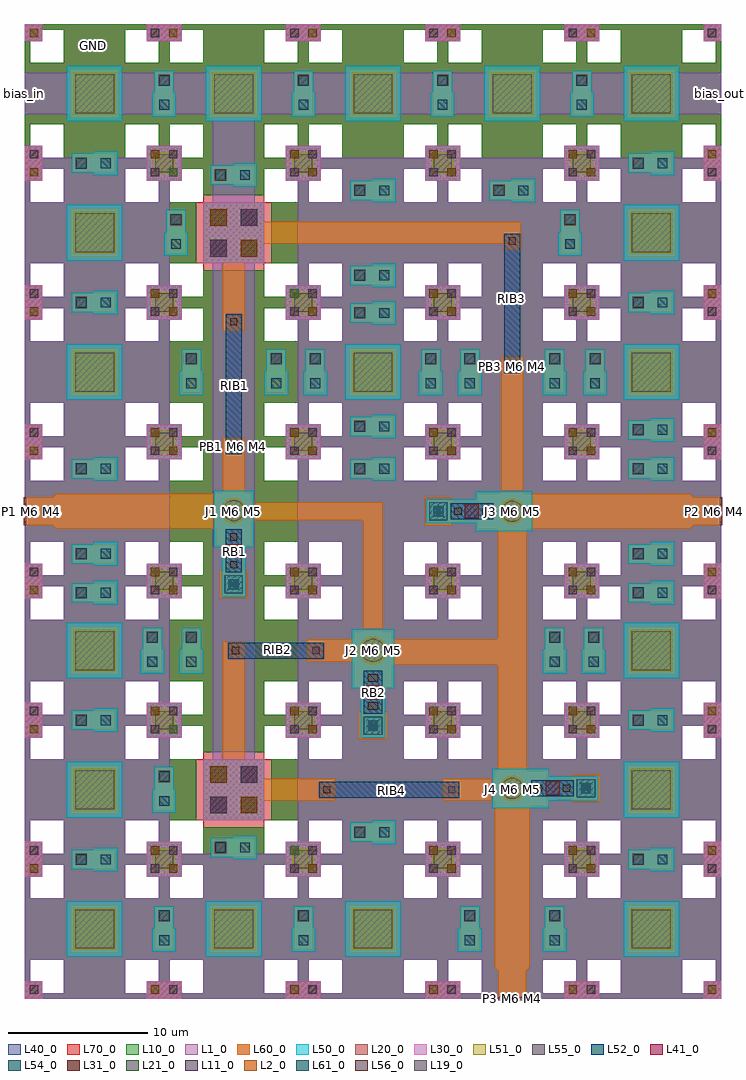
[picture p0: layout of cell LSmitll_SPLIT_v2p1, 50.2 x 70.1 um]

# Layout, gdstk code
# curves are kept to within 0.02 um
from math import pi, radians
import gdstk
lib = gdstk.Library(unit=1e-6, precision=1e-09)
def R(c, l, rs):  # rectangles x0, y0, x1, y1
    for r in rs: c.add(gdstk.rectangle(r[:2], r[2:], *l))
def P(c, l, *ps):  # polygons
    for p in ps: c.add(gdstk.Polygon(p, *l))
L1_0 = (1, 0)
L2_0 = (2, 0)
L10_0 = (10, 0)
L11_0 = (11, 0)
L19_0 = (19, 0)
L20_0 = (20, 0)
L21_0 = (21, 0)
L30_0 = (30, 0)
L31_0 = (31, 0)
L40_0 = (40, 0)
L41_0 = (41, 0)
L50_0 = (50, 0)
L51_0 = (51, 0)
L52_0 = (52, 0)
L54_0 = (54, 0)
L55_0 = (55, 0)
L56_0 = (56, 0)
L60_0 = (60, 0)
L61_0 = (61, 0)
L70_0 = (70, 0)

ls_tr_m0 = lib.new_cell('ls_tr_M0')
P(ls_tr_m0, L1_0, [(0,0),(0,10),(1.25,10),(1.25,8.75),(0.4,8.75),(0.4,1.25),(1.25,1.25),(1.25,0.4),(2.8,0.4),(2.8,2.8),(0.4,2.8),(0.4,7.2),(2.8,7.2),(2.8,9.6),(1.25,9.6),(1.25,10),(7.2,10),(7.2,0.4),(8.75,0.4),(8.75,1.25),(9.6,1.25),(9.6,2.8),(7.2,2.8),(7.2,7.2),(9.6,7.2),(9.6,8.75),(8.75,8.75),(8.75,9.6),(7.2,9.6),(7.2,10),(10,10),(10,0)])

ls_conn_m4m5m6m7 = lib.new_cell('ls_conn_M4M5M6M7')
R(ls_conn_m4m5m6m7, L40_0, [(0,0,1.4,1.4)])
R(ls_conn_m4m5m6m7, L41_0, [(0.3,0.3,1.1,1.1)])
P(ls_conn_m4m5m6m7, L50_0, [(1.6,-0.15),(1.6,0),(0,0),(0,1.4),(1.6,1.4),(1.6,1.55),(3.3,1.55),(3.3,-0.15)])
R(ls_conn_m4m5m6m7, L54_0, [(2.1,0.35,2.8,1.05)])
R(ls_conn_m4m5m6m7, L60_0, [(0,0,3.15,1.4)])
R(ls_conn_m4m5m6m7, L61_0, [(0.35,0.35,1.05,1.05)])
R(ls_conn_m4m5m6m7, L70_0, [(0,0,1.4,1.4)])

ls_fakejj_3umx3um = lib.new_cell('ls_FakeJJ_3umx3um')
R(ls_fakejj_3umx3um, L40_0, [(-2,-2,2,2)])
R(ls_fakejj_3umx3um, L50_0, [(-2,-2,2,2)])
R(ls_fakejj_3umx3um, L51_0, [(-1.5,-1.5,1.5,1.5)])
R(ls_fakejj_3umx3um, L55_0, [(-1.4,-1.4,1.4,1.4)])
R(ls_fakejj_3umx3um, L60_0, [(-1.75,-1.75,1.75,1.75)])

ls_tr_m7 = lib.new_cell('ls_tr_M7')
P(ls_tr_m7, L70_0, [(0,0),(0,10),(1.25,10),(1.25,8.75),(0.4,8.75),(0.4,1.25),(1.25,1.25),(1.25,0.4),(2.8,0.4),(2.8,2.8),(0.4,2.8),(0.4,7.2),(2.8,7.2),(2.8,9.6),(1.25,9.6),(1.25,10),(7.2,10),(7.2,0.4),(8.75,0.4),(8.75,1.25),(9.6,1.25),(9.6,2.8),(7.2,2.8),(7.2,7.2),(9.6,7.2),(9.6,8.75),(8.75,8.75),(8.75,9.6),(7.2,9.6),(7.2,10),(10,10),(10,0)])

ls_tr_u_m4_alt = lib.new_cell('ls_tr_u_M4_alt')
R(ls_tr_u_m4_alt, L1_0, [(0,0,1.25,1.25), (8.75,0,10,1.25), (0,8.75,1.25,10), (8.75,8.75,10,10)])
R(ls_tr_u_m4_alt, L2_0, [(9.05,0.35,9.65,0.95), (0.35,9.05,0.95,9.65)])
R(ls_tr_u_m4_alt, L10_0, [(0,0,1.25,1.25), (1.25,0,8.75,0.4), (8.75,0,10,1.25), (2.8,0.4,7.2,9.6), (0,1.25,0.4,8.75), (9.6,1.25,10,8.75), (0.4,2.8,2.8,7.2), (7.2,2.8,9.6,7.2), (0,8.75,1.25,10), (8.75,8.75,10,10), (1.25,9.6,8.75,10)])
R(ls_tr_u_m4_alt, L11_0, [(0.35,0.35,0.95,0.95), (9.05,9.05,9.65,9.65)])
R(ls_tr_u_m4_alt, L20_0, [(0,0,1.25,1.25), (8.75,0,10,1.25), (0,8.75,1.25,10), (8.75,8.75,10,10)])
R(ls_tr_u_m4_alt, L21_0, [(9.05,0.35,9.65,0.95), (0.35,9.05,0.95,9.65)])
R(ls_tr_u_m4_alt, L30_0, [(0,0,1.25,1.25), (8.75,0,10,1.25), (0,8.75,1.25,10), (8.75,8.75,10,10)])
R(ls_tr_u_m4_alt, L31_0, [(0.35,0.35,0.95,0.95), (9.05,9.05,9.65,9.65)])
P(ls_tr_u_m4_alt, L40_0, [(0,0),(0,10),(1.25,10),(1.25,8.75),(0.4,8.75),(0.4,1.25),(1.25,1.25),(1.25,0.4),(2.8,0.4),(2.8,2.8),(0.4,2.8),(0.4,7.2),(2.8,7.2),(2.8,9.6),(1.25,9.6),(1.25,10),(7.2,10),(7.2,0.4),(8.75,0.4),(8.75,1.25),(9.6,1.25),(9.6,2.8),(7.2,2.8),(7.2,7.2),(9.6,7.2),(9.6,8.75),(8.75,8.75),(8.75,9.6),(7.2,9.6),(7.2,10),(10,10),(10,0)])

ls_ib_175 = lib.new_cell('ls_ib_175')
R(ls_ib_175, L52_0, [(-0.575,0,0.575,10.05)])
R(ls_ib_175, L56_0, [(-0.26,0.29,0.26,0.81), (-0.26,9.26,0.26,9.78)])
R(ls_ib_175, L60_0, [(-0.625,-0.1,0.625,1.175), (-0.625,8.875,0.625,10.15)])

ls_conn_m5m6m7 = lib.new_cell('ls_conn_M5M6M7')
R(ls_conn_m5m6m7, L50_0, [(-0.5,-0.5,1.2,1.2)])
R(ls_conn_m5m6m7, L54_0, [(0,0,0.7,0.7)])
R(ls_conn_m5m6m7, L60_0, [(-0.65,-0.65,1.35,1.35)])
R(ls_conn_m5m6m7, L61_0, [(-0.3,-0.3,1,1)])
R(ls_conn_m5m6m7, L70_0, [(-0.65,-0.65,1.35,1.35)])

ls_jj250sg = lib.new_cell('ls_jj250sg')
R(ls_jj250sg, L41_0, [(-0.5,2.4,0.5,3.4)])
R(ls_jj250sg, L50_0, [(-1.425,-1.425,1.425,2.625), (-0.875,2.625,0.875,6.175)])
P(ls_jj250sg, L51_0, [(0,-0.91),(-0.18,-0.895),(-0.35,-0.84),(-0.645,-0.645),(-0.84,-0.35),(-0.91,0),(-0.895,0.18),(-0.84,0.35),(-0.645,0.645),(-0.35,0.84),(-0.18,0.895),(0,0.91),(0.18,0.895),(0.35,0.84),(0.645,0.645),(0.84,0.35),(0.895,0.18),(0.91,0),(0.84,-0.35),(0.645,-0.645),(0.35,-0.84),(0.18,-0.895)])
R(ls_jj250sg, L52_0, [(-0.575,1.35,0.575,4.425)])
R(ls_jj250sg, L54_0, [(-0.35,4.95,0.35,5.65)])
P(ls_jj250sg, L55_0, [(0,-0.76),(-0.15,-0.75),(-0.29,-0.7),(-0.54,-0.54),(-0.7,-0.29),(-0.75,-0.15),(-0.76,0),(-0.75,0.15),(-0.7,0.29),(-0.54,0.54),(-0.29,0.7),(-0.15,0.75),(0,0.76),(0.15,0.75),(0.29,0.7),(0.54,0.54),(0.7,0.29),(0.75,0.15),(0.76,0),(0.75,-0.15),(0.7,-0.29),(0.54,-0.54),(0.29,-0.7),(0.15,-0.75)])
R(ls_jj250sg, L56_0, [(-0.26,1.64,0.26,2.16), (-0.26,3.63,0.26,4.15)])
R(ls_jj250sg, L60_0, [(-1.275,-1.275,1.275,2.525), (-0.725,3.25,0.725,6.025)])
ls_jj250sg.add(gdstk.Reference(ls_conn_m5m6m7, (-0.35,4.95)))

ls_jj_300_sg = lib.new_cell('ls_jj_300_sg')
R(ls_jj_300_sg, L41_0, [(-0.5,2.5,0.5,3.5)])
R(ls_jj_300_sg, L50_0, [(-1.525,-1.525,1.525,2.725), (-0.875,2.725,0.875,6.275)])
P(ls_jj_300_sg, L51_0, [(0,-0.995),(-0.38,-0.92),(-0.705,-0.705),(-0.92,-0.38),(-0.995,0),(-0.92,0.38),(-0.705,0.705),(-0.38,0.92),(0,0.995),(0.38,0.92),(0.705,0.705),(0.92,0.38),(0.995,0),(0.92,-0.38),(0.705,-0.705),(0.38,-0.92)])
R(ls_jj_300_sg, L52_0, [(-0.65,1.45,0.65,4.525)])
R(ls_jj_300_sg, L54_0, [(-0.35,5.05,0.35,5.75)])
P(ls_jj_300_sg, L55_0, [(0,-0.85),(-0.32,-0.79),(-0.6,-0.6),(-0.78,-0.33),(-0.85,-0.01),(-0.78,0.32),(-0.6,0.59),(-0.32,0.78),(0,0.84),(0.32,0.78),(0.6,0.59),(0.78,0.32),(0.85,-0.01),(0.78,-0.33),(0.6,-0.6),(0.32,-0.79)])
R(ls_jj_300_sg, L56_0, [(-0.39,1.72,0.39,2.24), (-0.39,3.73,0.39,4.25)])
R(ls_jj_300_sg, L60_0, [(-1.375,-1.375,1.375,2.625), (-0.75,3.35,0.75,6.125)])
ls_jj_300_sg.add(gdstk.Reference(ls_conn_m5m6m7, (-0.35,5.05)))

ls_fakejj_1p5x1p5um = lib.new_cell('ls_FakeJJ_1p5x1p5um')
R(ls_fakejj_1p5x1p5um, L40_0, [(-1.25,-1.25,1.25,1.25)])
R(ls_fakejj_1p5x1p5um, L50_0, [(-1.25,-1.25,1.25,1.25)])
R(ls_fakejj_1p5x1p5um, L51_0, [(-0.75,-0.75,0.75,0.75)])
R(ls_fakejj_1p5x1p5um, L55_0, [(-0.65,-0.65,0.65,0.65)])
R(ls_fakejj_1p5x1p5um, L60_0, [(-1,-1,1,1)])

ls_tr_bias_pillar_m0m6 = lib.new_cell('ls_tr_bias_pillar_M0M6')
R(ls_tr_bias_pillar_m0m6, L1_0, [(0,0,1.25,1.25), (8.75,0,10,1.25), (2.8,2.8,7.2,7.2), (0,8.75,1.25,10), (8.75,8.75,10,10)])
R(ls_tr_bias_pillar_m0m6, L2_0, [(5.5,3.3,6.7,4.5), (3.3,5.5,4.5,6.7)])
R(ls_tr_bias_pillar_m0m6, L10_0, [(0,0,1.25,1.25), (8.75,0,10,1.25), (2.8,2.8,7.2,7.2), (0,8.75,1.25,10), (8.75,8.75,10,10)])
P(ls_tr_bias_pillar_m0m6, L10_0, [(0,0),(0,10),(7.2,10),(7.2,7.7),(2.8,7.7),(2.8,9.6),(1.25,9.6),(1.25,8.75),(0.4,8.75),(0.4,7.2),(2.3,7.2),(2.3,2.8),(0.4,2.8),(0.4,1.25),(1.25,1.25),(1.25,0.4),(2.8,0.4),(2.8,2.3),(7.2,2.3),(7.2,0.4),(8.75,0.4),(8.75,1.25),(9.6,1.25),(9.6,2.8),(7.7,2.8),(7.7,7.2),(9.6,7.2),(9.6,8.75),(8.75,8.75),(8.75,9.6),(7.2,9.6),(7.2,10),(10,10),(10,0)])
R(ls_tr_bias_pillar_m0m6, L11_0, [(0.35,0.35,0.95,0.95), (3.3,3.3,4.5,4.5), (5.5,5.5,6.7,6.7), (9.05,9.05,9.65,9.65)])
R(ls_tr_bias_pillar_m0m6, L20_0, [(0,0,1.25,1.25), (8.75,0,10,1.25), (2.8,2.8,7.2,7.2), (0,8.75,1.25,10), (8.75,8.75,10,10)])
R(ls_tr_bias_pillar_m0m6, L21_0, [(9.05,0.35,9.65,0.95), (5.5,3.3,6.7,4.5), (3.3,5.5,4.5,6.7), (0.35,9.05,0.95,9.65)])
R(ls_tr_bias_pillar_m0m6, L30_0, [(0,0,1.25,1.25), (8.75,0,10,1.25), (2.8,2.8,7.2,7.2), (0,8.75,1.25,10), (8.75,8.75,10,10)])
R(ls_tr_bias_pillar_m0m6, L31_0, [(0.35,0.35,0.95,0.95), (3.3,3.3,4.5,4.5), (5.5,5.5,6.7,6.7), (9.05,9.05,9.65,9.65)])
R(ls_tr_bias_pillar_m0m6, L40_0, [(2.8,2.8,7.2,7.2)])
P(ls_tr_bias_pillar_m0m6, L40_0, [(0,0),(0,10),(7.2,10),(7.2,7.7),(2.8,7.7),(2.8,9.6),(1.25,9.6),(1.25,8.75),(0.4,8.75),(0.4,7.2),(2.3,7.2),(2.3,2.8),(0.4,2.8),(0.4,1.25),(1.25,1.25),(1.25,0.4),(2.8,0.4),(2.8,2.3),(7.2,2.3),(7.2,0.4),(8.75,0.4),(8.75,1.25),(9.6,1.25),(9.6,2.8),(7.7,2.8),(7.7,7.2),(9.6,7.2),(9.6,8.75),(8.75,8.75),(8.75,9.6),(7.2,9.6),(7.2,10),(10,10),(10,0)])
R(ls_tr_bias_pillar_m0m6, L41_0, [(5.5,3.3,6.7,4.5), (3.3,5.5,4.5,6.7)])
R(ls_tr_bias_pillar_m0m6, L50_0, [(2.8,2.8,7.2,7.2)])
R(ls_tr_bias_pillar_m0m6, L54_0, [(3.3,3.3,4.5,4.5), (5.5,5.5,6.7,6.7)])
R(ls_tr_bias_pillar_m0m6, L60_0, [(2.8,2.8,7.2,7.2)])
P(ls_tr_bias_pillar_m0m6, L70_0, [(0,0),(0,10),(1.25,10),(1.25,8.75),(0.4,8.75),(0.4,1.25),(1.25,1.25),(1.25,0.4),(2.8,0.4),(2.8,2.8),(0.4,2.8),(0.4,7.2),(2.8,7.2),(2.8,9.6),(1.25,9.6),(1.25,10),(7.2,10),(7.2,0.4),(8.75,0.4),(8.75,1.25),(9.6,1.25),(9.6,2.8),(7.2,2.8),(7.2,7.2),(9.6,7.2),(9.6,8.75),(8.75,8.75),(8.75,9.6),(7.2,9.6),(7.2,10),(10,10),(10,0)])

ls_ib_280 = lib.new_cell('ls_ib_280')
R(ls_ib_280, L52_0, [(-0.575,0,0.575,6.85)])
R(ls_ib_280, L56_0, [(-0.26,0.29,0.26,0.81), (-0.26,6.06,0.26,6.58)])
R(ls_ib_280, L60_0, [(-0.625,-0.1,0.625,1.175), (-0.625,5.675,0.625,6.95)])

lsmitll_split_v2p1 = lib.new_cell('LSmitll_SPLIT_v2p1')
R(lsmitll_split_v2p1, L1_0, [(11.25,10,18.75,10.4), (10,11.25,10.4,58.75), (19.6,11.25,20,58.75), (1.25,60,8.75,60.4), (21.25,60,48.75,60.4)])
R(lsmitll_split_v2p1, L19_0, [(30.4,14.75,30.9,15.25), (20.65,24.75,21.15,25.25), (14.75,39.4,15.25,39.9), (34.75,45.2,35.25,45.7)])
P(lsmitll_split_v2p1, L60_0, [(34,2),(33.75,2.25),(36.25,2.25),(36,2)],
  [(47.75,33.75),(47.75,36.25),(48,36),(48,34)],
  [(2.25,33.75),(2,34),(2,36),(2.25,36.25)])
lsmitll_split_v2p1.add(gdstk.FlexPath([(15,15),(15,25.625)], 1.6, ends="flush", simple_path=True, layer=60, datatype=0))  # L60_0
lsmitll_split_v2p1.add(gdstk.FlexPath([(24,25),(20.25,25)], 1.6, ends="flush", simple_path=True, layer=60, datatype=0))  # L60_0
lsmitll_split_v2p1.add(gdstk.FlexPath([(26.35,24.9),(35,24.9)], 1.85, ends="flush", simple_path=True, layer=60, datatype=0))  # L60_0
lsmitll_split_v2p1.add(gdstk.FlexPath([(15,15),(22.3,15)], 1.6, ends="flush", simple_path=True, layer=60, datatype=0))  # L60_0
lsmitll_split_v2p1.add(gdstk.FlexPath([(15,55),(35.625,55)], 1.6, ends="flush", simple_path=True, layer=60, datatype=0))  # L60_0
lsmitll_split_v2p1.add(gdstk.FlexPath([(15,47.975),(15,55)], 1.6, ends="flush", simple_path=True, layer=60, datatype=0))  # L60_0
lsmitll_split_v2p1.add(gdstk.FlexPath([(0,35),(2.25,35)], 2, ends="flush", simple_path=True, layer=60, datatype=0))  # L60_0
lsmitll_split_v2p1.add(gdstk.FlexPath([(15,36.25),(15,40.3)], 1.6, ends="flush", simple_path=True, layer=60, datatype=0))  # L60_0
lsmitll_split_v2p1.add(gdstk.FlexPath([(33.85,15),(30,15)], 1.6, ends="flush", simple_path=True, layer=60, datatype=0))  # L60_0
lsmitll_split_v2p1.add(gdstk.FlexPath([(35,2.25),(35,0)], 2, ends="flush", simple_path=True, layer=60, datatype=0))  # L60_0
lsmitll_split_v2p1.add(gdstk.FlexPath([(35,25.75),(35,16.05)], 2.1, ends="flush", simple_path=True, layer=60, datatype=0))  # L60_0
lsmitll_split_v2p1.add(gdstk.FlexPath([(47.75,35),(50,35)], 2, ends="flush", simple_path=True, layer=60, datatype=0))  # L60_0
lsmitll_split_v2p1.add(gdstk.FlexPath([(16.25,35),(25.6,35)], 1.3, ends="flush", simple_path=True, layer=60, datatype=0))  # L60_0
lsmitll_split_v2p1.add(gdstk.FlexPath([(25,26.35),(25,35.65)], 1.4, ends="flush", simple_path=True, layer=60, datatype=0))  # L60_0
lsmitll_split_v2p1.add(gdstk.FlexPath([(35,34.4),(35,24.25)], 2.1, ends="flush", simple_path=True, layer=60, datatype=0))  # L60_0
lsmitll_split_v2p1.add(gdstk.FlexPath([(35,36.25),(35,46.1)], 1.6, ends="flush", simple_path=True, layer=60, datatype=0))  # L60_0
lsmitll_split_v2p1.add(gdstk.FlexPath([(2.25,35),(13.75,35)], 2.5, ends="flush", simple_path=True, layer=60, datatype=0))  # L60_0
lsmitll_split_v2p1.add(gdstk.FlexPath([(36.2,35),(47.75,35)], 2.5, ends="flush", simple_path=True, layer=60, datatype=0))  # L60_0
lsmitll_split_v2p1.add(gdstk.FlexPath([(35,13.85),(35,2.25)], 2.5, ends="flush", simple_path=True, layer=60, datatype=0))  # L60_0
lsmitll_split_v2p1.add(gdstk.FlexPath([(0,65),(50,65)], 3, ends="flush", simple_path=True, layer=1, datatype=0))  # L1_0
lsmitll_split_v2p1.add(gdstk.FlexPath([(15,65),(15,15)], 3, ends="flush", simple_path=True, layer=1, datatype=0))  # L1_0
lsmitll_split_v2p1.add(gdstk.FlexPath([(0,34),(0,36)], 0.2, ends="flush", simple_path=True, layer=19, datatype=0))  # L19_0
lsmitll_split_v2p1.add(gdstk.FlexPath([(34,0),(36,0)], 0.2, ends="flush", simple_path=True, layer=19, datatype=0))  # L19_0
lsmitll_split_v2p1.add(gdstk.FlexPath([(50,36),(50,34)], 0.2, ends="flush", simple_path=True, layer=19, datatype=0))  # L19_0
lsmitll_split_v2p1.add(gdstk.Reference(ls_tr_m0, (40,30)))
lsmitll_split_v2p1.add(gdstk.Reference(ls_tr_m0, (30,30)))
lsmitll_split_v2p1.add(gdstk.Reference(ls_tr_m0, (20,10)))
lsmitll_split_v2p1.add(gdstk.Reference(ls_tr_m0, (20,20)))
lsmitll_split_v2p1.add(gdstk.Reference(ls_tr_m0, (20,30)))
lsmitll_split_v2p1.add(gdstk.Reference(ls_tr_m0, (20,40)))
lsmitll_split_v2p1.add(gdstk.Reference(ls_tr_m0, (20,50)))
lsmitll_split_v2p1.add(gdstk.Reference(ls_conn_m4m5m6m7, (23.35,40.4)))
lsmitll_split_v2p1.add(gdstk.Reference(ls_conn_m4m5m6m7, (23.35,48.55)))
lsmitll_split_v2p1.add(gdstk.Reference(ls_fakejj_3umx3um, (25,45)))
lsmitll_split_v2p1.add(gdstk.Reference(ls_fakejj_3umx3um, (25,5)))
r = gdstk.Reference(ls_tr_m7, (0,0)); r.repetition = gdstk.Repetition(5, 7, v1=(10,0), v2=(0,10)); lsmitll_split_v2p1.add(r)
lsmitll_split_v2p1.add(gdstk.Reference(ls_tr_u_m4_alt, (20,60)))
lsmitll_split_v2p1.add(gdstk.Reference(ls_tr_u_m4_alt, (20,50)))
lsmitll_split_v2p1.add(gdstk.Reference(ls_tr_u_m4_alt, (20,40)))
lsmitll_split_v2p1.add(gdstk.Reference(ls_tr_u_m4_alt, (30,30)))
lsmitll_split_v2p1.add(gdstk.Reference(ls_tr_u_m4_alt, (20,30)))
lsmitll_split_v2p1.add(gdstk.Reference(ls_tr_u_m4_alt, (10,30)))
lsmitll_split_v2p1.add(gdstk.Reference(ls_tr_u_m4_alt, (0,30)))
lsmitll_split_v2p1.add(gdstk.Reference(ls_tr_u_m4_alt, (20,20)))
lsmitll_split_v2p1.add(gdstk.Reference(ls_tr_u_m4_alt, (20,10)))
lsmitll_split_v2p1.add(gdstk.Reference(ls_fakejj_3umx3um, (25,65)))
lsmitll_split_v2p1.add(gdstk.Reference(ls_ib_175, (31.2,15), rotation=pi/2))
lsmitll_split_v2p1.add(gdstk.Reference(ls_jj250sg, (35,35), rotation=pi/2))
lsmitll_split_v2p1.add(gdstk.Reference(ls_jj_300_sg, (25,25), rotation=pi))
lsmitll_split_v2p1.add(gdstk.Reference(ls_jj250sg, (15,35.05), rotation=pi))
lsmitll_split_v2p1.add(gdstk.Reference(ls_conn_m4m5m6m7, (23.35,37.35)))
lsmitll_split_v2p1.add(gdstk.Reference(ls_conn_m4m5m6m7, (23.35,51.25)))
lsmitll_split_v2p1.add(gdstk.Reference(ls_conn_m4m5m6m7, (23.35,57.35)))
lsmitll_split_v2p1.add(gdstk.Reference(ls_tr_u_m4_alt, (20,0)))
lsmitll_split_v2p1.add(gdstk.Reference(ls_tr_u_m4_alt, (40,30)))
lsmitll_split_v2p1.add(gdstk.Reference(ls_conn_m4m5m6m7, (23.35,11.25)))
lsmitll_split_v2p1.add(gdstk.Reference(ls_tr_m0, (0,30)))
lsmitll_split_v2p1.add(gdstk.Reference(ls_tr_m0, (20,0)))
lsmitll_split_v2p1.add(gdstk.Reference(ls_conn_m4m5m6m7, (43.35,49.3)))
lsmitll_split_v2p1.add(gdstk.Reference(ls_fakejj_3umx3um, (45,55)))
lsmitll_split_v2p1.add(gdstk.Reference(ls_tr_m0, (40,50)))
lsmitll_split_v2p1.add(gdstk.Reference(ls_conn_m4m5m6m7, (39.3,66.65), rotation=3*pi/2))
lsmitll_split_v2p1.add(gdstk.Reference(ls_conn_m4m5m6m7, (29.3,66.65), rotation=3*pi/2))
lsmitll_split_v2p1.add(gdstk.Reference(ls_fakejj_3umx3um, (45,65)))
lsmitll_split_v2p1.add(gdstk.Reference(ls_fakejj_3umx3um, (35,65)))
lsmitll_split_v2p1.add(gdstk.Reference(ls_tr_m0, (30,50)))
lsmitll_split_v2p1.add(gdstk.Reference(ls_fakejj_1p5x1p5um, (40,40)))
lsmitll_split_v2p1.add(gdstk.Reference(ls_fakejj_1p5x1p5um, (30,40)))
lsmitll_split_v2p1.add(gdstk.Reference(ls_fakejj_1p5x1p5um, (30,50)))
lsmitll_split_v2p1.add(gdstk.Reference(ls_fakejj_1p5x1p5um, (40,50)))
lsmitll_split_v2p1.add(gdstk.Reference(ls_fakejj_1p5x1p5um, (40,60)))
lsmitll_split_v2p1.add(gdstk.Reference(ls_fakejj_1p5x1p5um, (30,60)))
lsmitll_split_v2p1.add(gdstk.Reference(ls_ib_175, (35,44.9)))
lsmitll_split_v2p1.add(gdstk.Reference(ls_tr_m0, (30,40)))
lsmitll_split_v2p1.add(gdstk.Reference(ls_tr_u_m4_alt, (30,60)))
lsmitll_split_v2p1.add(gdstk.Reference(ls_tr_u_m4_alt, (40,60)))
lsmitll_split_v2p1.add(gdstk.Reference(ls_tr_u_m4_alt, (40,50)))
lsmitll_split_v2p1.add(gdstk.Reference(ls_tr_u_m4_alt, (30,50)))
lsmitll_split_v2p1.add(gdstk.Reference(ls_conn_m4m5m6m7, (43.35,37.35)))
lsmitll_split_v2p1.add(gdstk.Reference(ls_conn_m4m5m6m7, (31.25,46.65), rotation=3*pi/2))
lsmitll_split_v2p1.add(gdstk.Reference(ls_conn_m4m5m6m7, (43.35,40.15)))
lsmitll_split_v2p1.add(gdstk.Reference(ls_conn_m4m5m6m7, (28.45,46.65), rotation=3*pi/2))
lsmitll_split_v2p1.add(gdstk.Reference(ls_conn_m4m5m6m7, (33.35,57.35)))
lsmitll_split_v2p1.add(gdstk.Reference(ls_conn_m4m5m6m7, (43.35,59.3)))
lsmitll_split_v2p1.add(gdstk.Reference(ls_tr_u_m4_alt, (30,40)))
lsmitll_split_v2p1.add(gdstk.Reference(ls_tr_u_m4_alt, (40,40)))
lsmitll_split_v2p1.add(gdstk.Reference(ls_conn_m4m5m6m7, (37.35,46.65), rotation=3*pi/2))
lsmitll_split_v2p1.add(gdstk.Reference(ls_conn_m4m5m6m7, (38.45,56.65), rotation=3*pi/2))
lsmitll_split_v2p1.add(gdstk.Reference(ls_conn_m4m5m6m7, (40.25,46.65), rotation=3*pi/2))
lsmitll_split_v2p1.add(gdstk.Reference(ls_tr_m0, (40,40)))
lsmitll_split_v2p1.add(gdstk.Reference(ls_fakejj_3umx3um, (45,45)))
lsmitll_split_v2p1.add(gdstk.Reference(ls_fakejj_1p5x1p5um, (10,60)))
lsmitll_split_v2p1.add(gdstk.Reference(ls_conn_m4m5m6m7, (3.35,37.35)))
lsmitll_split_v2p1.add(gdstk.Reference(ls_conn_m4m5m6m7, (3.35,59.3)))
lsmitll_split_v2p1.add(gdstk.Reference(ls_fakejj_3umx3um, (5,45)))
lsmitll_split_v2p1.add(gdstk.Reference(ls_ib_175, (15,39.1)))
lsmitll_split_v2p1.add(gdstk.Reference(ls_fakejj_3umx3um, (5,55)))
lsmitll_split_v2p1.add(gdstk.Reference(ls_tr_u_m4_alt, (10,40)))
lsmitll_split_v2p1.add(gdstk.Reference(ls_conn_m4m5m6m7, (20.15,46.65), rotation=3*pi/2))
lsmitll_split_v2p1.add(gdstk.Reference(ls_tr_u_m4_alt, (0,60)))
lsmitll_split_v2p1.add(gdstk.Reference(ls_fakejj_3umx3um, (15,65)))
lsmitll_split_v2p1.add(gdstk.Reference(ls_conn_m4m5m6m7, (10.15,56.65), rotation=3*pi/2))
lsmitll_split_v2p1.add(gdstk.Reference(ls_conn_m4m5m6m7, (17.35,46.65), rotation=3*pi/2))
lsmitll_split_v2p1.add(gdstk.Reference(ls_conn_m4m5m6m7, (11.25,46.65), rotation=3*pi/2))
lsmitll_split_v2p1.add(gdstk.Reference(ls_tr_u_m4_alt, (10,60)))
lsmitll_split_v2p1.add(gdstk.Reference(ls_tr_u_m4_alt, (0,50)))
lsmitll_split_v2p1.add(gdstk.Reference(ls_fakejj_1p5x1p5um, (20,40)))
lsmitll_split_v2p1.add(gdstk.Reference(ls_fakejj_1p5x1p5um, (10,40)))
lsmitll_split_v2p1.add(gdstk.Reference(ls_conn_m4m5m6m7, (13.35,58.45)))
lsmitll_split_v2p1.add(gdstk.Reference(ls_fakejj_3umx3um, (5,65)))
lsmitll_split_v2p1.add(gdstk.Reference(ls_fakejj_1p5x1p5um, (10,50)))
lsmitll_split_v2p1.add(gdstk.Reference(ls_tr_bias_pillar_m0m6, (10,50)))
lsmitll_split_v2p1.add(gdstk.Reference(ls_fakejj_1p5x1p5um, (20,50)))
lsmitll_split_v2p1.add(gdstk.Reference(ls_tr_u_m4_alt, (0,40)))
lsmitll_split_v2p1.add(gdstk.Reference(ls_conn_m4m5m6m7, (19.3,66.65), rotation=3*pi/2))
lsmitll_split_v2p1.add(gdstk.Reference(ls_conn_m4m5m6m7, (9.3,66.65), rotation=3*pi/2))
lsmitll_split_v2p1.add(gdstk.Reference(ls_tr_m0, (0,50)))
lsmitll_split_v2p1.add(gdstk.Reference(ls_tr_m0, (0,40)))
lsmitll_split_v2p1.add(gdstk.Reference(ls_conn_m4m5m6m7, (3.35,49.3)))
lsmitll_split_v2p1.add(gdstk.Reference(ls_fakejj_1p5x1p5um, (20,60)))
lsmitll_split_v2p1.add(gdstk.Reference(ls_fakejj_1p5x1p5um, (10,10)))
lsmitll_split_v2p1.add(gdstk.Reference(ls_conn_m4m5m6m7, (3.35,31.25)))
lsmitll_split_v2p1.add(gdstk.Reference(ls_fakejj_1p5x1p5um, (10,30)))
lsmitll_split_v2p1.add(gdstk.Reference(ls_fakejj_1p5x1p5um, (10,20)))
lsmitll_split_v2p1.add(gdstk.Reference(ls_tr_u_m4_alt, (0,10)))
lsmitll_split_v2p1.add(gdstk.Reference(ls_conn_m4m5m6m7, (9.3,16.65), rotation=3*pi/2))
lsmitll_split_v2p1.add(gdstk.Reference(ls_fakejj_1p5x1p5um, (20,20)))
lsmitll_split_v2p1.add(gdstk.Reference(ls_fakejj_1p5x1p5um, (20,30)))
lsmitll_split_v2p1.add(gdstk.Reference(ls_conn_m4m5m6m7, (9.3,6.65), rotation=3*pi/2))
lsmitll_split_v2p1.add(gdstk.Reference(ls_conn_m4m5m6m7, (19.3,6.65), rotation=3*pi/2))
lsmitll_split_v2p1.add(gdstk.Reference(ls_conn_m4m5m6m7, (3.35,9.3)))
lsmitll_split_v2p1.add(gdstk.Reference(ls_conn_m4m5m6m7, (3.35,28.45)))
lsmitll_split_v2p1.add(gdstk.Reference(ls_conn_m4m5m6m7, (3.35,19.3)))
lsmitll_split_v2p1.add(gdstk.Reference(ls_tr_u_m4_alt, (0,0)))
lsmitll_split_v2p1.add(gdstk.Reference(ls_tr_u_m4_alt, (10,0)))
lsmitll_split_v2p1.add(gdstk.Reference(ls_fakejj_3umx3um, (5,15)))
lsmitll_split_v2p1.add(gdstk.Reference(ls_fakejj_3umx3um, (5,25)))
lsmitll_split_v2p1.add(gdstk.Reference(ls_tr_bias_pillar_m0m6, (10,10)))
lsmitll_split_v2p1.add(gdstk.Reference(ls_fakejj_3umx3um, (15,5)))
lsmitll_split_v2p1.add(gdstk.Reference(ls_fakejj_3umx3um, (5,5)))
lsmitll_split_v2p1.add(gdstk.Reference(ls_ib_280, (21.45,25), rotation=pi/2))
lsmitll_split_v2p1.add(gdstk.Reference(ls_conn_m4m5m6m7, (8.45,26.65), rotation=3*pi/2))
lsmitll_split_v2p1.add(gdstk.Reference(ls_conn_m4m5m6m7, (13.35,10.15)))
lsmitll_split_v2p1.add(gdstk.Reference(ls_tr_u_m4_alt, (0,20)))
lsmitll_split_v2p1.add(gdstk.Reference(ls_tr_u_m4_alt, (10,20)))
lsmitll_split_v2p1.add(gdstk.Reference(ls_fakejj_1p5x1p5um, (20,10)))
lsmitll_split_v2p1.add(gdstk.Reference(ls_tr_m0, (0,20)))
lsmitll_split_v2p1.add(gdstk.Reference(ls_tr_m0, (0,10)))
lsmitll_split_v2p1.add(gdstk.Reference(ls_tr_m0, (0,0)))
lsmitll_split_v2p1.add(gdstk.Reference(ls_tr_m0, (10,0)))
lsmitll_split_v2p1.add(gdstk.Reference(ls_conn_m4m5m6m7, (11.25,26.65), rotation=3*pi/2))
lsmitll_split_v2p1.add(gdstk.Reference(ls_conn_m4m5m6m7, (40.15,26.65), rotation=3*pi/2))
lsmitll_split_v2p1.add(gdstk.Reference(ls_fakejj_3umx3um, (45,25)))
lsmitll_split_v2p1.add(gdstk.Reference(ls_fakejj_3umx3um, (45,15)))
lsmitll_split_v2p1.add(gdstk.Reference(ls_conn_m4m5m6m7, (43.35,28.45)))
lsmitll_split_v2p1.add(gdstk.Reference(ls_tr_m0, (30,20)))
lsmitll_split_v2p1.add(gdstk.Reference(ls_tr_u_m4_alt, (30,20)))
lsmitll_split_v2p1.add(gdstk.Reference(ls_tr_u_m4_alt, (40,20)))
lsmitll_split_v2p1.add(gdstk.Reference(ls_tr_u_m4_alt, (40,10)))
lsmitll_split_v2p1.add(gdstk.Reference(ls_tr_u_m4_alt, (30,10)))
lsmitll_split_v2p1.add(gdstk.Reference(ls_fakejj_1p5x1p5um, (30,20)))
lsmitll_split_v2p1.add(gdstk.Reference(ls_tr_u_m4_alt, (30,0)))
lsmitll_split_v2p1.add(gdstk.Reference(ls_tr_u_m4_alt, (40,0)))
lsmitll_split_v2p1.add(gdstk.Reference(ls_fakejj_1p5x1p5um, (30,30)))
lsmitll_split_v2p1.add(gdstk.Reference(ls_tr_m0, (30,10)))
lsmitll_split_v2p1.add(gdstk.Reference(ls_tr_m0, (40,10)))
lsmitll_split_v2p1.add(gdstk.Reference(ls_jj250sg, (35,15.1), rotation=pi/2, x_reflection=True))
lsmitll_split_v2p1.add(gdstk.Reference(ls_fakejj_1p5x1p5um, (40,30)))
lsmitll_split_v2p1.add(gdstk.Reference(ls_conn_m4m5m6m7, (37.35,26.65), rotation=3*pi/2))
lsmitll_split_v2p1.add(gdstk.Reference(ls_fakejj_3umx3um, (45,5)))
lsmitll_split_v2p1.add(gdstk.Reference(ls_conn_m4m5m6m7, (43.35,9.3)))
lsmitll_split_v2p1.add(gdstk.Reference(ls_fakejj_1p5x1p5um, (40,20)))
lsmitll_split_v2p1.add(gdstk.Reference(ls_tr_m0, (40,20)))
lsmitll_split_v2p1.add(gdstk.Reference(ls_conn_m4m5m6m7, (43.35,31.25)))
lsmitll_split_v2p1.add(gdstk.Reference(ls_fakejj_1p5x1p5um, (40,10)))
lsmitll_split_v2p1.add(gdstk.Reference(ls_conn_m4m5m6m7, (31.25,6.65), rotation=3*pi/2))
lsmitll_split_v2p1.add(gdstk.Reference(ls_conn_m4m5m6m7, (37.35,6.65), rotation=3*pi/2))
lsmitll_split_v2p1.add(gdstk.Reference(ls_fakejj_1p5x1p5um, (30,10)))
lsmitll_split_v2p1.add(gdstk.Reference(ls_conn_m4m5m6m7, (43.35,19.3)))
lsmitll_split_v2p1.add(gdstk.Reference(ls_tr_m0, (30,0)))
lsmitll_split_v2p1.add(gdstk.Reference(ls_tr_m0, (40,0)))
lsmitll_split_v2p1.add(gdstk.Label('bias_out', (50,65), layer=182, texttype=0))
lsmitll_split_v2p1.add(gdstk.Label('bias_in', (0,65), layer=182, texttype=0))
lsmitll_split_v2p1.add(gdstk.Label('P1 M6 M4', (0,35), layer=182, texttype=0))
lsmitll_split_v2p1.add(gdstk.Label('J1 M6 M5', (15,35), layer=182, texttype=0))
lsmitll_split_v2p1.add(gdstk.Label('PB1 M6 M4', (15,39.65), layer=182, texttype=0))
lsmitll_split_v2p1.add(gdstk.Label('J2 M6 M5', (25,25), layer=182, texttype=0))
lsmitll_split_v2p1.add(gdstk.Label('PB2 M6 M4', (20.9,25), layer=182, texttype=0))
lsmitll_split_v2p1.add(gdstk.Label('J3 M6 M5', (35,35), layer=182, texttype=0))
lsmitll_split_v2p1.add(gdstk.Label('PB3 M6 M4', (35,45.4), layer=182, texttype=0))
lsmitll_split_v2p1.add(gdstk.Label('P2 M6 M4', (50,35), layer=182, texttype=0))
lsmitll_split_v2p1.add(gdstk.Label('J4 M6 M5', (35,15), layer=182, texttype=0))
lsmitll_split_v2p1.add(gdstk.Label('PB4 M6 M4', (30.65,15), layer=182, texttype=0))
lsmitll_split_v2p1.add(gdstk.Label('P3 M6 M4', (35,0), layer=182, texttype=0))
lsmitll_split_v2p1.add(gdstk.Label('VDD', (1.52,65.7), layer=1, texttype=1))
lsmitll_split_v2p1.add(gdstk.Label('GND', (4.95,68.49), layer=40, texttype=1))
lsmitll_split_v2p1.add(gdstk.Label('a', (0.04,34.06), layer=60, texttype=1))
lsmitll_split_v2p1.add(gdstk.Label('q0', (49.95,34.07), layer=60, texttype=1))
lsmitll_split_v2p1.add(gdstk.Label('q1', (34.06,0.06), layer=60, texttype=1))
lsmitll_split_v2p1.add(gdstk.Label('RIB1', (15.03,44.07), layer=52, texttype=1))
lsmitll_split_v2p1.add(gdstk.Label('RIB2', (18.15,25.09), layer=52, texttype=1))
lsmitll_split_v2p1.add(gdstk.Label('RIB3', (34.95,50.3), layer=52, texttype=1))
lsmitll_split_v2p1.add(gdstk.Label('RIB4', (26.35,14.97), layer=52, texttype=1))
lsmitll_split_v2p1.add(gdstk.Label('RB1', (15.05,32.08), layer=52, texttype=1))
lsmitll_split_v2p1.add(gdstk.Label('RB2', (25,22.02), layer=52, texttype=1))
lsmitll_split_v2p1.add(gdstk.Label('RB3', (32.06,35), layer=52, texttype=1))
lsmitll_split_v2p1.add(gdstk.Label('RB4', (37.88,15.13), layer=52, texttype=1))

lib.write_gds('LSmitll_SPLIT_v2p1.gds')
